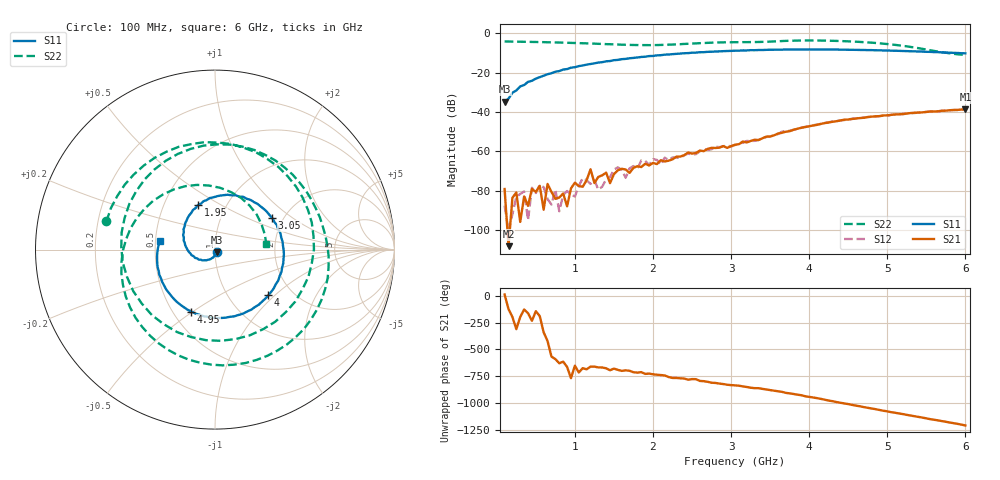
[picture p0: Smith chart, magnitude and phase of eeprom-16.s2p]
! Created with skrf 2.0.0 (http://scikit-rf.org).
# Hz S RI R 50.0
!freq ReS11 ImS11 ReS21 ImS21 ReS12 ImS12 ReS22 ImS22
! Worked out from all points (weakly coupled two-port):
!   119 points, 100 MHz to 6 GHz, reference 50 ohm
!   highest |S21| = -38.61 dB at 6 GHz (marker M1); lowest = -108.3 dB at 150 MHz (marker M2)
!   lowest |S11| = -34.8 dB at 100 MHz (marker M3), VSWR 1.04, Z = 50.8 - j1.64 ohm
!   |S11| at or under -10 dB: start of sweep to 2.446 GHz; 5.925 GHz to end of sweep
!   |S22| runs from -10.8 to -3.6 dB; largest |S21 - S12| = 0.00024
!   S11 on the Smith chart (normalised r, x): 100 MHz: 1.02, -0.03; 1.95 GHz: 0.74, +0.39; 3.05 GHz: 1.75, +0.71; 4 GHz: 1.51, -0.91; 4.95 GHz: 0.62, -0.49; 6 GHz: 0.53, +0.05
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1e8  0.00861 -0.0161  0.000106 2.44e-05  -1.07e-05 -3.98e-05  -0.6051 0.1567
1.5e8  0.00482 -0.0214  -2.09e-06 -3.21e-06  9.72e-07 9.37e-06  -0.5801 0.2307
6e8  -0.0602 -0.059  3.06e-05 1.08e-05  0.000119 2.62e-05  -0.0576 0.5988
1e9  -0.1364 -0.0224  6.17e-05 0.000146  -3.7e-05 5.98e-05  0.4504 0.3525
1.1e9  -0.1526 -0.00197  9.01e-05 8.68e-05  -7.28e-05 0.000195  0.5181 0.221
1.2e9  -0.1654 0.0223  0.000183 0.000296  0.000121 8.47e-05  0.549 0.0746
1.25e9  -0.1691 0.0388  8.12e-05 0.000133  0.000105 0.000149  0.5513 0.000539
1.3e9  -0.1745 0.0507  0.00014 0.000173  2.58e-05 0.000102  0.5394 -0.076
1.4e9  -0.1777 0.0819  0.000208 0.000194  0.000155 0.000116  0.4878 -0.2208
1.45e9  -0.1739 0.0959  0.00014 6.42e-05  0.000176 0.000134  0.4475 -0.289
1.55e9  -0.1696 0.1273  0.000289 0.000154  0.000387 4.95e-05  0.3364 -0.4013
1.95e9  -0.0953 0.248  0.000432 -4.91e-05  0.000445 -6.87e-05  -0.2852 -0.4158
2.1e9  -0.0471 0.2757  0.000556 -0.000203  0.000414 -0.000191  -0.4554 -0.2315
2.6e9  0.1568 0.2942  0.000262 -0.00101  0.000286 -0.000957  -0.2735 0.4953
3.05e9  0.3181 0.1771  -0.000662 -0.00131  -0.000653 -0.00128  0.3369 0.4962
4e9  0.2972 -0.255  -0.0031 0.00302  -0.00325 0.00292  0.4513 -0.4866
4.05e9  0.2816 -0.2719  -0.0029 0.00347  -0.00301 0.00346  0.4021 -0.5274
4.5e9  0.0854 -0.3742  0.00239 0.00598  0.00243 0.00601  -0.1445 -0.6137
4.95e9  -0.1317 -0.3451  0.00811 0.000843  0.00803 0.000895  -0.5126 -0.1976
5.05e9  -0.173 -0.3213  0.00837 -0.00111  0.00844 -0.000957  -0.5209 -0.0683
5.55e9  -0.3102 -0.1394  0.00306 -0.00985  0.00323 -0.00976  -0.1 0.3605
6e9  -0.3086 0.0471  -0.00781 -0.00876  -0.00773 -0.0088  0.2858 0.0327
